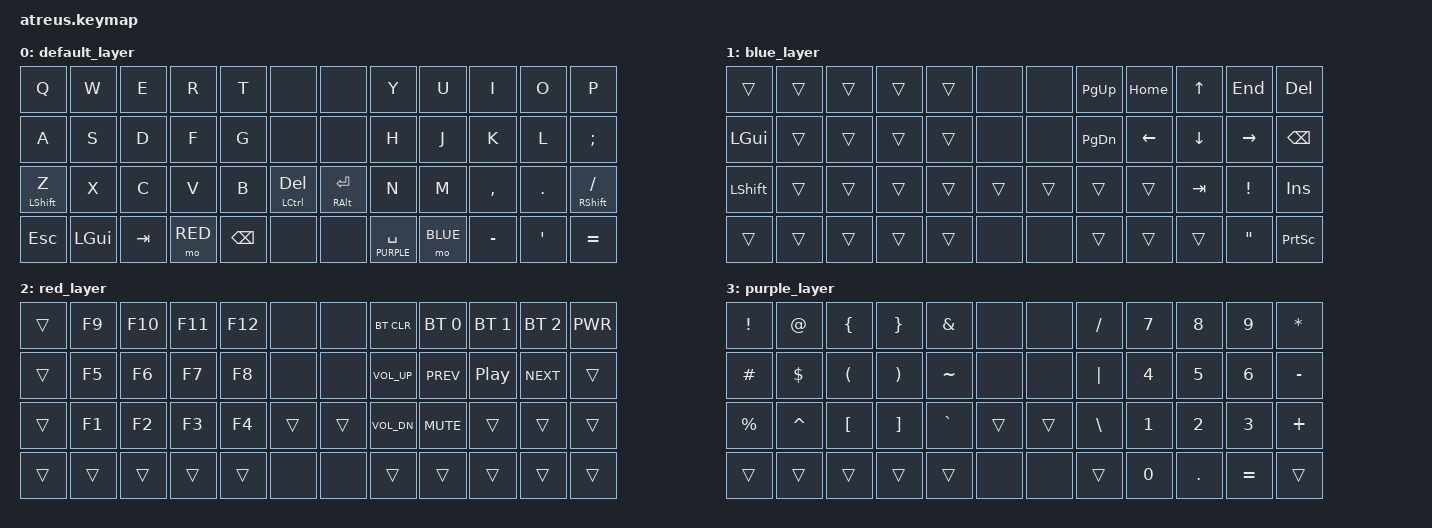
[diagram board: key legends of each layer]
/*
 * Copyright (c) 2020 The ZMK Contributors
 *
 * SPDX-License-Identifier: MIT
 */

#include <behaviors.dtsi>
#include <dt-bindings/zmk/keys.h>
#include <dt-bindings/zmk/bt.h>

#define DEFAULT 0
#define BLUE    1
#define RED     2
#define PURPLE  3

/ {
    keymap {
        compatible = "zmk,keymap";

        default_layer {
            bindings = <
                &kp Q          &kp W       &kp E      &kp R      &kp T      &none                 &none             &kp Y              &kp U         &kp I      &kp O       &kp P
                &kp A          &kp S       &kp D      &kp F      &kp G      &none                 &none             &kp H              &kp J         &kp K      &kp L       &kp SEMI
                &mt LSHIFT Z   &kp X       &kp C      &kp V      &kp B      &mt LCTRL DEL         &mt RALT RET      &kp N              &kp M         &kp COMMA  &kp DOT     &mt RSHIFT FSLH
                &kp ESC        &kp LGUI    &kp TAB    &mo RED    &kp BSPC   &none                 &none             &lt PURPLE SPACE   &mo BLUE      &kp MINUS  &kp SQT     &kp EQUAL
            >;
        };

        blue_layer {
            bindings = <
                &trans     &trans     &trans     &trans   &trans        &none              &none      &kp PG_UP  &kp HOME   &kp UP     &kp END    &kp DEL
                &kp LGUI   &trans     &trans     &trans   &trans        &none              &none      &kp PG_DN  &kp LEFT   &kp DOWN   &kp RIGHT  &kp BKSP
                &kp LSHIFT &trans     &trans     &trans   &trans        &trans             &trans     &trans     &trans     &kp TAB    &kp EXCL   &kp INS
                &trans     &trans     &trans     &trans   &trans        &none              &none      &trans     &trans     &trans     &kp DQT    &kp PSCRN
            >;
        };

        red_layer {
            bindings = <
                &trans     &kp F9     &kp F10    &kp F11    &kp F12    &none              &none      &bt BT_CLR    &bt BT_SEL 0 &bt BT_SEL 1 &bt BT_SEL 2 &kp C_PWR
                &trans     &kp F5     &kp F6     &kp F7     &kp F8     &none              &none      &kp C_VOL_UP  &kp K_PREV &kp C_PP   &kp K_NEXT   &trans
                &trans     &kp F1     &kp F2     &kp F3     &kp F4     &trans             &trans     &kp C_VOL_DN  &kp C_MUTE  &trans     &trans       &trans
                &trans     &trans     &trans     &trans     &trans     &none              &none      &trans        &trans     &trans     &trans       &trans
            >;
        };

        purple_layer {
            bindings = <
                &kp EXCL     &kp AT       &kp LBRC     &kp RBRC   &kp AMPS    &none      &none      &kp SLASH    &kp N7       &kp N8     &kp N9       &kp STAR
                &kp HASH     &kp DLLR     &kp LPAR     &kp RPAR   &kp TILDE   &none      &none      &kp PIPE     &kp N4       &kp N5     &kp N6       &kp MINUS
                &kp PRCNT    &kp CARET    &kp LBKT     &kp RBKT   &kp GRAVE   &trans     &trans     &kp BSLH     &kp N1       &kp N2     &kp N3       &kp PLUS
                &trans       &trans       &trans       &trans     &trans      &none      &none      &trans       &kp N0       &kp DOT    &kp EQUAL    &trans
            >;
        };

    };
};
